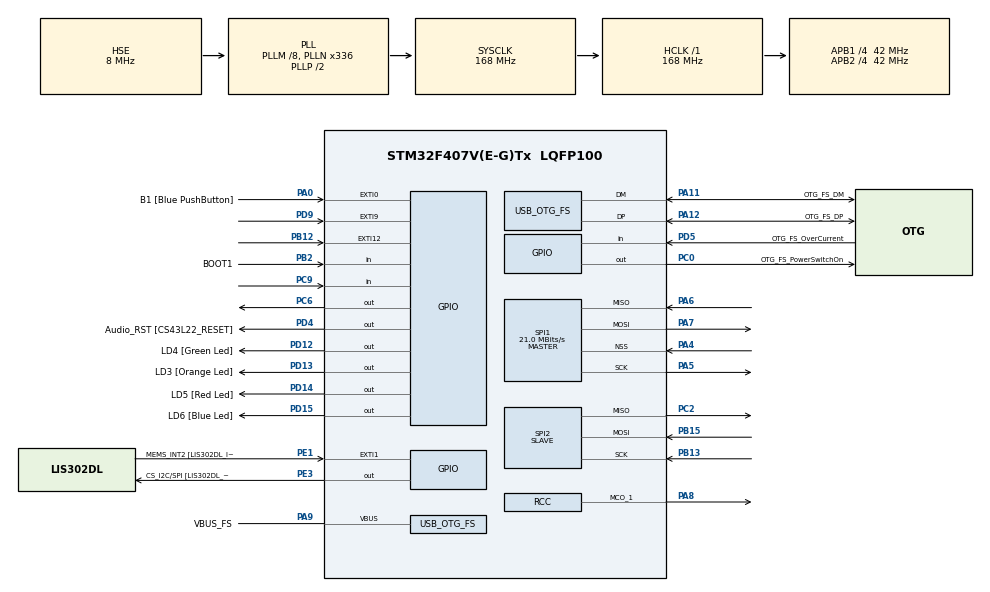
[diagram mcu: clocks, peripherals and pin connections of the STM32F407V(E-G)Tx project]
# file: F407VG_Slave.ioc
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Mcu.Family=STM32F4
Mcu.Name=STM32F407V(E-G)Tx
Mcu.Package=LQFP100
NVIC.EXTI15_10_IRQn=true\:0\:0\:false\:false\:true\:true\:true\:true
NVIC.OTG_FS_IRQn=true\:0\:0\:false\:false\:true\:true\:true\:true
NVIC.PriorityGroup=NVIC_PRIORITYGROUP_0
NVIC.SPI1_IRQn=true\:0\:0\:false\:false\:true\:true\:true\:true
NVIC.SPI2_IRQn=true\:0\:0\:false\:false\:true\:true\:true\:true
PA0-WKUP.GPIO_Label=B1 [Blue PushButton]
PA0-WKUP.GPIO_ModeDefaultEXTI=GPIO_MODE_EVT_RISING
PA0-WKUP.GPIO_PuPd=GPIO_NOPULL
PA0-WKUP.Signal=GPXTI0
PA10.GPIO_Label=OTG_FS_ID
PA10.GPIO_Mode=GPIO_MODE_AF_PP
PA10.GPIO_PuPd=GPIO_NOPULL
PA10.GPIO_Speed=GPIO_SPEED_FREQ_LOW
PA10.Signal=USB_OTG_FS_ID
PA11.GPIO_Label=OTG_FS_DM
PA11.GPIO_Mode=GPIO_MODE_AF_PP
PA11.GPIO_PuPd=GPIO_NOPULL
PA11.GPIO_Speed=GPIO_SPEED_FREQ_LOW
PA11.Mode=Device_Only
PA11.Signal=USB_OTG_FS_DM
PA12.GPIO_Label=OTG_FS_DP
PA12.GPIO_Mode=GPIO_MODE_AF_PP
PA12.GPIO_PuPd=GPIO_NOPULL
PA12.GPIO_Speed=GPIO_SPEED_FREQ_LOW
PA12.Mode=Device_Only
PA12.Signal=USB_OTG_FS_DP
PA13.GPIO_Label=SWDIO
PA13.Mode=Serial_Wire
PA13.Signal=SYS_JTMS-SWDIO
PA14.GPIO_Label=SWCLK
PA14.Mode=Serial_Wire
PA14.Signal=SYS_JTCK-SWCLK
PA4.Mode=NSS_Signal_Hard_Input
PA4.Signal=SPI1_NSS
PA5.Mode=Full_Duplex_Master
PA5.Signal=SPI1_SCK
PA6.Mode=Full_Duplex_Master
PA6.Signal=SPI1_MISO
PA7.Mode=Full_Duplex_Master
PA7.Signal=SPI1_MOSI
PA8.Mode=Clock-out-1
PA8.Signal=RCC_MCO_1
PA9.GPIO_Label=VBUS_FS
PA9.GPIO_Mode=GPIO_MODE_INPUT
PA9.GPIO_PuPd=GPIO_NOPULL
PA9.Mode=Activate_VBUS
PA9.Signal=USB_OTG_FS_VBUS
PB10.GPIO_Label=CLK_IN [MP45DT02_CLK]
PB10.GPIO_Mode=GPIO_MODE_AF_PP
PB10.GPIO_PuPd=GPIO_NOPULL
PB10.GPIO_Speed=GPIO_SPEED_FREQ_LOW
PB10.Signal=I2S2_CK
PB12.GPIO_ModeDefaultEXTI=GPIO_MODE_IT_RISING_FALLING
PB12.Signal=GPXTI12
PB13.Mode=Full_Duplex_Slave
PB13.Signal=SPI2_SCK
PB15.Mode=Full_Duplex_Slave
PB15.Signal=SPI2_MOSI
PB2.GPIO_Label=BOOT1
PB2.GPIO_Mode=GPIO_MODE_INPUT
PB2.GPIO_PuPd=GPIO_NOPULL
PB2.Signal=GPIO_Input
PB3.GPIO_Label=SWO
PB3.Signal=SYS_JTDO-SWO
PB6.GPIO_Label=Audio_SCL [CS43L22_SCL]
PB6.GPIO_Mode=GPIO_MODE_AF_OD
PB6.GPIO_Pu=GPIO_PULLUP
PB6.GPIO_PuPd=GPIO_NOPULL
PB6.GPIO_Speed=GPIO_SPEED_FREQ_LOW
PB6.Signal=I2C1_SCL
PB9.GPIO_Label=Audio_SDA [CS43L22_SDA]
PB9.GPIO_Mode=GPIO_MODE_AF_OD
PB9.GPIO_Pu=GPIO_PULLUP
PB9.GPIO_PuPd=GPIO_NOPULL
PB9.GPIO_Speed=GPIO_SPEED_FREQ_LOW
PB9.Signal=I2C1_SDA
PC0.GPIO_Label=OTG_FS_PowerSwitchOn
PC0.GPIO_PuPd=GPIO_NOPULL
PC0.GPIO_Speed=GPIO_SPEED_FREQ_LOW
PC0.PinState=GPIO_PIN_SET
PC0.Signal=GPIO_Output
PC12.GPIO_Label=I2S3_SD [CS43L22_SDIN]
PC12.GPIO_Mode=GPIO_MODE_AF_PP
PC12.GPIO_PuPd=GPIO_NOPULL
PC12.GPIO_Speed=GPIO_SPEED_FREQ_LOW
PC12.Signal=I2S3_SD
PC14-OSC32_IN.GPIO_Label=PC14-OSC32_IN
PC14-OSC32_IN.Signal=RCC_OSC32_IN
PC15-OSC32_OUT.GPIO_Label=PC15-OSC32_OUT
PC15-OSC32_OUT.Signal=RCC_OSC32_OUT
PC2.Mode=Full_Duplex_Slave
PC2.Signal=SPI2_MISO
PC3.GPIO_Label=PDM_OUT [MP45DT02_DOUT]
PC3.GPIO_Mode=GPIO_MODE_AF_PP
PC3.GPIO_PuPd=GPIO_NOPULL
PC3.GPIO_Speed=GPIO_SPEED_FREQ_LOW
PC3.Signal=I2S2_SD
PC6.GPIO_Speed=GPIO_SPEED_FREQ_VERY_HIGH
PC6.PinState=GPIO_PIN_SET
PC6.Signal=GPIO_Output
PC7.GPIO_Label=I2S3_MCK [CS43L22_MCLK]
PC7.GPIO_Mode=GPIO_MODE_AF_PP
PC7.GPIO_PuPd=GPIO_NOPULL
PC7.GPIO_Speed=GPIO_SPEED_FREQ_LOW
PC7.Signal=I2S3_MCK
PC9.Signal=GPIO_Input
PD12.GPIO_Label=LD4 [Green Led]
PD12.GPIO_PuPd=GPIO_NOPULL
PD12.GPIO_Speed=GPIO_SPEED_FREQ_LOW
PD12.Signal=GPIO_Output
PD13.GPIO_Label=LD3 [Orange Led]
PD13.GPIO_PuPd=GPIO_NOPULL
PD13.GPIO_Speed=GPIO_SPEED_FREQ_LOW
PD13.Signal=GPIO_Output
PD14.GPIO_Label=LD5 [Red Led]
PD14.GPIO_PuPd=GPIO_NOPULL
PD14.GPIO_Speed=GPIO_SPEED_FREQ_LOW
PD14.Signal=GPIO_Output
PD15.GPIO_Label=LD6 [Blue Led]
PD15.GPIO_PuPd=GPIO_NOPULL
PD15.GPIO_Speed=GPIO_SPEED_FREQ_LOW
PD15.Signal=GPIO_Output
PD4.GPIO_Label=Audio_RST [CS43L22_RESET]
PD4.GPIO_PuPd=GPIO_NOPULL
PD4.GPIO_Speed=GPIO_SPEED_FREQ_LOW
PD4.Signal=GPIO_Output
PD5.GPIO_Label=OTG_FS_OverCurrent
PD5.GPIO_Mode=GPIO_MODE_INPUT
PD5.GPIO_PuPd=GPIO_NOPULL
PD5.Signal=GPIO_Input
PD9.Signal=GPXTI9
PE1.GPIO_Label=MEMS_INT2 [LIS302DL_INT2]
PE1.GPIO_ModeDefaultEXTI=GPIO_MODE_EVT_RISING
PE1.GPIO_PuPd=GPIO_NOPULL
PE1.Signal=GPXTI1
PE3.GPIO_Label=CS_I2C/SPI [LIS302DL_CS_I2C/SPI]
PE3.GPIO_PuPd=GPIO_NOPULL
PE3.GPIO_Speed=GPIO_SPEED_FREQ_LOW
PE3.Signal=GPIO_Output
PH0-OSC_IN.GPIO_Label=PH0-OSC_IN
PH0-OSC_IN.Mode=HSE-External-Oscillator
PH0-OSC_IN.Signal=RCC_OSC_IN
PH1-OSC_OUT.GPIO_Label=PH1-OSC_OUT
PH1-OSC_OUT.Mode=HSE-External-Oscillator
PH1-OSC_OUT.Signal=RCC_OSC_OUT
ProjectManager.HeapSize=0x200
ProjectManager.StackSize=0x400
ProjectManager.TargetToolchain=STM32CubeIDE
RCC.48MHZClocksFreq_Value=48000000
RCC.AHBFreq_Value=168000000
RCC.APB1CLKDivider=RCC_HCLK_DIV4
RCC.APB1Freq_Value=42000000
RCC.APB1TimFreq_Value=84000000
RCC.APB2CLKDivider=RCC_HCLK_DIV4
RCC.APB2Freq_Value=42000000
RCC.APB2TimFreq_Value=84000000
RCC.CortexFreq_Value=168000000
RCC.HCLKFreq_Value=168000000
RCC.HSE_VALUE=8000000
RCC.HSI_VALUE=16000000
RCC.LSE_VALUE=32768
RCC.PLLM=8
RCC.PLLN=336
RCC.PLLQ=7
RCC.SYSCLKFreq_VALUE=168000000
RCC.SYSCLKSource=RCC_SYSCLKSOURCE_PLLCLK
RCC.VCOOutputFreq_Value=336000000
SPI1.CalculateBaudRate=21.0 MBits/s
SPI1.Direction=SPI_DIRECTION_2LINES
SPI1.Mode=SPI_MODE_MASTER
SPI1.VirtualNSS=VM_NSSHARD
SPI1.VirtualType=VM_MASTER
SPI2.Direction=SPI_DIRECTION_2LINES
SPI2.Mode=SPI_MODE_SLAVE
SPI2.VirtualType=VM_SLAVE
USB_DEVICE.CLASS_NAME_FS=CDC
USB_DEVICE.VirtualMode-CDC_FS=Cdc
USB_DEVICE.VirtualModeFS=Cdc_FS
USB_OTG_FS.VirtualMode=Device_Only
VP_USB_DEVICE_VS_USB_DEVICE_CDC_FS.Mode=CDC_FS
board=STM32F407G-DISC1

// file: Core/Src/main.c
/* USER CODE BEGIN Header */
/**
  ******************************************************************************
  * @file           : main.c
  * @brief          : Main program body
  ******************************************************************************
  * @attention
  *
  * Copyright (c) 2023 STMicroelectronics.
  * All rights reserved.
  *
  * This software is licensed under terms that can be found in the LICENSE file
  * in the root directory of this software component.
  * If no LICENSE file comes with this software, it is provided AS-IS.
  *
  ******************************************************************************
  */
/* USER CODE END Header */
#include "main.h"
#include "usb_device.h"

/* USER CODE BEGIN Includes */
void HAL_SPI_RxCpltCallback(SPI_HandleTypeDef *hspi);
/* USER CODE END Includes */

/* USER CODE BEGIN PD */
#define spi_dis HAL_GPIO_WritePin(GPIOB,GPIO_PIN_12,GPIO_PIN_SET)
#define spi_en HAL_GPIO_WritePin(GPIOB,GPIO_PIN_12,GPIO_PIN_RESET)
/* USER CODE END PD */

SPI_HandleTypeDef hspi1;
SPI_HandleTypeDef hspi2;

void SystemClock_Config(void);
static void MX_GPIO_Init(void);
static void MX_SPI2_Init(void);
static void MX_SPI1_Init(void);
/* USER CODE BEGIN PFP */
uint8_t num1 = 20;
uint8_t data_send = 0 , data_get;
void HAL_SPI_RxCpltCallback(SPI_HandleTypeDef *hspi);

uint8_t b[12] = "Hello Slave\n";
uint8_t c[1] =  "a";
uint8_t buffer[12];
uint8_t buffer1[1];
extern uint8_t TX_Data[13];
extern uint8_t RX_Data[12];

float num2 = 30.5;
uint8_t num3;
float num4;
uint8_t str[14]; // Ensure this is large enough to hold both numbers and any additional characters

extern uint8_t rec;

// Format and concatenate num1 and num2 into str

/* USER CODE END PFP */

/* USER CODE BEGIN 0 */

extern uint8_t rec;
extern uint8_t count_r;
/* USER CODE END 0 */

int main(void)
{

  /* MCU Configuration--------------------------------------------------------*/

  /* Reset of all peripherals, Initializes the Flash interface and the Systick. */
  HAL_Init();

  /* Configure the system clock */
  SystemClock_Config();

  /* Initialize all configured peripherals */
  MX_GPIO_Init();
  MX_USB_DEVICE_Init();
  MX_SPI2_Init();
  MX_SPI1_Init();

  /* Infinite loop */
  while (1)
  {

  }
}

void SystemClock_Config(void)
{
  RCC_OscInitTypeDef RCC_OscInitStruct = {0};
  RCC_ClkInitTypeDef RCC_ClkInitStruct = {0};

  /** Configure the main internal regulator output voltage
  */
  __HAL_RCC_PWR_CLK_ENABLE();
  __HAL_PWR_VOLTAGESCALING_CONFIG(PWR_REGULATOR_VOLTAGE_SCALE1);

  /** Initializes the RCC Oscillators according to the specified parameters
  * in the RCC_OscInitTypeDef structure.
  */
  RCC_OscInitStruct.OscillatorType = RCC_OSCILLATORTYPE_HSI|RCC_OSCILLATORTYPE_HSE;
  RCC_OscInitStruct.HSEState = RCC_HSE_ON;
  RCC_OscInitStruct.HSIState = RCC_HSI_ON;
  RCC_OscInitStruct.HSICalibrationValue = RCC_HSICALIBRATION_DEFAULT;
  RCC_OscInitStruct.PLL.PLLState = RCC_PLL_ON;
  RCC_OscInitStruct.PLL.PLLSource = RCC_PLLSOURCE_HSE;
  RCC_OscInitStruct.PLL.PLLM = 8;
  RCC_OscInitStruct.PLL.PLLN = 336;
  RCC_OscInitStruct.PLL.PLLP = RCC_PLLP_DIV2;
  RCC_OscInitStruct.PLL.PLLQ = 7;
  if (HAL_RCC_OscConfig(&RCC_OscInitStruct) != HAL_OK)
  {
    Error_Handler();
  }

  /** Initializes the CPU, AHB and APB buses clocks
  */
  RCC_ClkInitStruct.ClockType = RCC_CLOCKTYPE_HCLK|RCC_CLOCKTYPE_SYSCLK
                              |RCC_CLOCKTYPE_PCLK1|RCC_CLOCKTYPE_PCLK2;
  RCC_ClkInitStruct.SYSCLKSource = RCC_SYSCLKSOURCE_PLLCLK;
  RCC_ClkInitStruct.AHBCLKDivider = RCC_SYSCLK_DIV1;
  RCC_ClkInitStruct.APB1CLKDivider = RCC_HCLK_DIV4;
  RCC_ClkInitStruct.APB2CLKDivider = RCC_HCLK_DIV4;

  if (HAL_RCC_ClockConfig(&RCC_ClkInitStruct, FLASH_LATENCY_5) != HAL_OK)
  {
    Error_Handler();
  }
  HAL_RCC_MCOConfig(RCC_MCO1, RCC_MCO1SOURCE_HSI, RCC_MCODIV_1);
}

static void MX_SPI1_Init(void)
{

  /* SPI1 parameter configuration*/
  hspi1.Instance = SPI1;
  hspi1.Init.Mode = SPI_MODE_MASTER;
  hspi1.Init.Direction = SPI_DIRECTION_2LINES;
  hspi1.Init.DataSize = SPI_DATASIZE_8BIT;
  hspi1.Init.CLKPolarity = SPI_POLARITY_LOW;
  hspi1.Init.CLKPhase = SPI_PHASE_1EDGE;
  hspi1.Init.NSS = SPI_NSS_HARD_INPUT;
  hspi1.Init.BaudRatePrescaler = SPI_BAUDRATEPRESCALER_2;
  hspi1.Init.FirstBit = SPI_FIRSTBIT_MSB;
  hspi1.Init.TIMode = SPI_TIMODE_DISABLE;
  hspi1.Init.CRCCalculation = SPI_CRCCALCULATION_DISABLE;
  hspi1.Init.CRCPolynomial = 10;
  if (HAL_SPI_Init(&hspi1) != HAL_OK)
  {
    Error_Handler();
  }

}

static void MX_SPI2_Init(void)
{

  /* SPI2 parameter configuration*/
  hspi2.Instance = SPI2;
  hspi2.Init.Mode = SPI_MODE_SLAVE;
  hspi2.Init.Direction = SPI_DIRECTION_2LINES;
  hspi2.Init.DataSize = SPI_DATASIZE_8BIT;
  hspi2.Init.CLKPolarity = SPI_POLARITY_LOW;
  hspi2.Init.CLKPhase = SPI_PHASE_1EDGE;
  hspi2.Init.NSS = SPI_NSS_SOFT;
  hspi2.Init.FirstBit = SPI_FIRSTBIT_MSB;
  hspi2.Init.TIMode = SPI_TIMODE_DISABLE;
  hspi2.Init.CRCCalculation = SPI_CRCCALCULATION_DISABLE;
  hspi2.Init.CRCPolynomial = 10;
  if (HAL_SPI_Init(&hspi2) != HAL_OK)
  {
    Error_Handler();
  }

}

static void MX_GPIO_Init(void)
{
  GPIO_InitTypeDef GPIO_InitStruct = {0};

  /* GPIO Ports Clock Enable */
  __HAL_RCC_GPIOE_CLK_ENABLE();
  __HAL_RCC_GPIOC_CLK_ENABLE();
  __HAL_RCC_GPIOH_CLK_ENABLE();
  __HAL_RCC_GPIOA_CLK_ENABLE();
  __HAL_RCC_GPIOB_CLK_ENABLE();
  __HAL_RCC_GPIOD_CLK_ENABLE();

  /*Configure GPIO pin Output Level */
  HAL_GPIO_WritePin(CS_I2C_SPI_GPIO_Port, CS_I2C_SPI_Pin, GPIO_PIN_RESET);

  /*Configure GPIO pin Output Level */
  HAL_GPIO_WritePin(GPIOC, OTG_FS_PowerSwitchOn_Pin|GPIO_PIN_6, GPIO_PIN_SET);

  /*Configure GPIO pin Output Level */
  HAL_GPIO_WritePin(GPIOD, LD4_Pin|LD3_Pin|LD5_Pin|LD6_Pin
                          |Audio_RST_Pin, GPIO_PIN_RESET);

  /*Configure GPIO pin : CS_I2C_SPI_Pin */
  GPIO_InitStruct.Pin = CS_I2C_SPI_Pin;
  GPIO_InitStruct.Mode = GPIO_MODE_OUTPUT_PP;
  GPIO_InitStruct.Pull = GPIO_NOPULL;
  GPIO_InitStruct.Speed = GPIO_SPEED_FREQ_LOW;
  HAL_GPIO_Init(CS_I2C_SPI_GPIO_Port, &GPIO_InitStruct);

  /*Configure GPIO pin : OTG_FS_PowerSwitchOn_Pin */
  GPIO_InitStruct.Pin = OTG_FS_PowerSwitchOn_Pin;
  GPIO_InitStruct.Mode = GPIO_MODE_OUTPUT_PP;
  GPIO_InitStruct.Pull = GPIO_NOPULL;
  GPIO_InitStruct.Speed = GPIO_SPEED_FREQ_LOW;
  HAL_GPIO_Init(OTG_FS_PowerSwitchOn_GPIO_Port, &GPIO_InitStruct);

  /*Configure GPIO pin : PDM_OUT_Pin */
  GPIO_InitStruct.Pin = PDM_OUT_Pin;
  GPIO_InitStruct.Mode = GPIO_MODE_AF_PP;
  GPIO_InitStruct.Pull = GPIO_NOPULL;
  GPIO_InitStruct.Speed = GPIO_SPEED_FREQ_LOW;
  GPIO_InitStruct.Alternate = GPIO_AF5_SPI2;
  HAL_GPIO_Init(PDM_OUT_GPIO_Port, &GPIO_InitStruct);

  /*Configure GPIO pin : B1_Pin */
  GPIO_InitStruct.Pin = B1_Pin;
  GPIO_InitStruct.Mode = GPIO_MODE_EVT_RISING;
  GPIO_InitStruct.Pull = GPIO_NOPULL;
  HAL_GPIO_Init(B1_GPIO_Port, &GPIO_InitStruct);

  /*Configure GPIO pin : BOOT1_Pin */
  GPIO_InitStruct.Pin = BOOT1_Pin;
  GPIO_InitStruct.Mode = GPIO_MODE_INPUT;
  GPIO_InitStruct.Pull = GPIO_NOPULL;
  HAL_GPIO_Init(BOOT1_GPIO_Port, &GPIO_InitStruct);

  /*Configure GPIO pin : CLK_IN_Pin */
  GPIO_InitStruct.Pin = CLK_IN_Pin;
  GPIO_InitStruct.Mode = GPIO_MODE_AF_PP;
  GPIO_InitStruct.Pull = GPIO_NOPULL;
  GPIO_InitStruct.Speed = GPIO_SPEED_FREQ_LOW;
  GPIO_InitStruct.Alternate = GPIO_AF5_SPI2;
  HAL_GPIO_Init(CLK_IN_GPIO_Port, &GPIO_InitStruct);

  /*Configure GPIO pin : PB12 */
  GPIO_InitStruct.Pin = GPIO_PIN_12;
  GPIO_InitStruct.Mode = GPIO_MODE_IT_RISING_FALLING;
  GPIO_InitStruct.Pull = GPIO_NOPULL;
  HAL_GPIO_Init(GPIOB, &GPIO_InitStruct);

  /*Configure GPIO pin : PD9 */
  GPIO_InitStruct.Pin = GPIO_PIN_9;
  GPIO_InitStruct.Mode = GPIO_MODE_IT_RISING;
  GPIO_InitStruct.Pull = GPIO_NOPULL;
  HAL_GPIO_Init(GPIOD, &GPIO_InitStruct);

  /*Configure GPIO pins : LD4_Pin LD3_Pin LD5_Pin LD6_Pin
                           Audio_RST_Pin */
  GPIO_InitStruct.Pin = LD4_Pin|LD3_Pin|LD5_Pin|LD6_Pin
                          |Audio_RST_Pin;
  GPIO_InitStruct.Mode = GPIO_MODE_OUTPUT_PP;
  GPIO_InitStruct.Pull = GPIO_NOPULL;
  GPIO_InitStruct.Speed = GPIO_SPEED_FREQ_LOW;
  HAL_GPIO_Init(GPIOD, &GPIO_InitStruct);

  /*Configure GPIO pin : PC6 */
  GPIO_InitStruct.Pin = GPIO_PIN_6;
  GPIO_InitStruct.Mode = GPIO_MODE_OUTPUT_PP;
  GPIO_InitStruct.Pull = GPIO_NOPULL;
  GPIO_InitStruct.Speed = GPIO_SPEED_FREQ_VERY_HIGH;
  HAL_GPIO_Init(GPIOC, &GPIO_InitStruct);

  /*Configure GPIO pins : I2S3_MCK_Pin I2S3_SD_Pin */
  GPIO_InitStruct.Pin = I2S3_MCK_Pin|I2S3_SD_Pin;
  GPIO_InitStruct.Mode = GPIO_MODE_AF_PP;
  GPIO_InitStruct.Pull = GPIO_NOPULL;
  GPIO_InitStruct.Speed = GPIO_SPEED_FREQ_LOW;
  GPIO_InitStruct.Alternate = GPIO_AF6_SPI3;
  HAL_GPIO_Init(GPIOC, &GPIO_InitStruct);

  /*Configure GPIO pin : PC9 */
  GPIO_InitStruct.Pin = GPIO_PIN_9;
  GPIO_InitStruct.Mode = GPIO_MODE_INPUT;
  GPIO_InitStruct.Pull = GPIO_NOPULL;
  HAL_GPIO_Init(GPIOC, &GPIO_InitStruct);

  /*Configure GPIO pin : PA8 */
  GPIO_InitStruct.Pin = GPIO_PIN_8;
  GPIO_InitStruct.Mode = GPIO_MODE_AF_PP;
  GPIO_InitStruct.Pull = GPIO_NOPULL;
  GPIO_InitStruct.Speed = GPIO_SPEED_FREQ_LOW;
  GPIO_InitStruct.Alternate = GPIO_AF0_MCO;
  HAL_GPIO_Init(GPIOA, &GPIO_InitStruct);

  /*Configure GPIO pin : OTG_FS_OverCurrent_Pin */
  GPIO_InitStruct.Pin = OTG_FS_OverCurrent_Pin;
  GPIO_InitStruct.Mode = GPIO_MODE_INPUT;
  GPIO_InitStruct.Pull = GPIO_NOPULL;
  HAL_GPIO_Init(OTG_FS_OverCurrent_GPIO_Port, &GPIO_InitStruct);

  /*Configure GPIO pins : Audio_SCL_Pin Audio_SDA_Pin */
  GPIO_InitStruct.Pin = Audio_SCL_Pin|Audio_SDA_Pin;
  GPIO_InitStruct.Mode = GPIO_MODE_AF_OD;
  GPIO_InitStruct.Pull = GPIO_PULLUP;
  GPIO_InitStruct.Speed = GPIO_SPEED_FREQ_LOW;
  GPIO_InitStruct.Alternate = GPIO_AF4_I2C1;
  HAL_GPIO_Init(GPIOB, &GPIO_InitStruct);

  /*Configure GPIO pin : MEMS_INT2_Pin */
  GPIO_InitStruct.Pin = MEMS_INT2_Pin;
  GPIO_InitStruct.Mode = GPIO_MODE_EVT_RISING;
  GPIO_InitStruct.Pull = GPIO_NOPULL;
  HAL_GPIO_Init(MEMS_INT2_GPIO_Port, &GPIO_InitStruct);

  /* EXTI interrupt init*/
  HAL_NVIC_SetPriority(EXTI15_10_IRQn, 0, 0);
  HAL_NVIC_EnableIRQ(EXTI15_10_IRQn);

/* USER CODE BEGIN MX_GPIO_Init_2 */
  /*Configure GPIO pin : SPI NSS */
  GPIO_InitStruct.Pin = GPIO_PIN_12;
  GPIO_InitStruct.Mode = GPIO_MODE_INPUT;

  //HAL_GPIO_Init(GPIOB,  &GPIO_InitStruct);
/* USER CODE END MX_GPIO_Init_2 */
}

void Error_Handler(void)
{
  __disable_irq();
  while (1)
  {
  }
}
